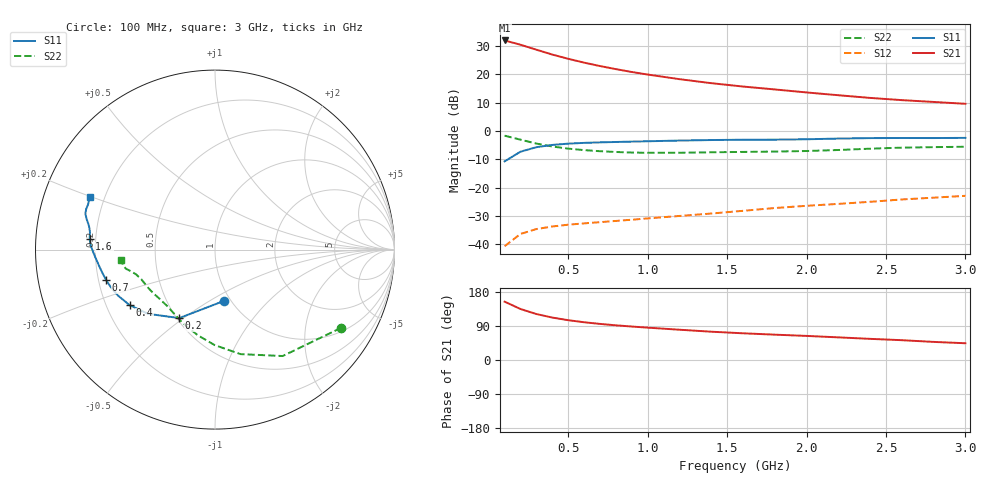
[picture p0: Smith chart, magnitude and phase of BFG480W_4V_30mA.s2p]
! Filename: 430BFG480.001
! Title: BFG480W
! Bias: Vce=4V; Ic=30mA
! Company: Philips Semiconductors NL
! User: Quality&Reliability T&D
! Measure time: 10 Nov 1999 / 12:02:36
#  MHz  S  MA  R 50
! Freq  S11  S21  S12  S22  :
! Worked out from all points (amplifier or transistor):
!   20 points, 100 MHz to 3 GHz, reference 50 ohm
!   highest |S21| = 32.0 dB at 100 MHz (marker M1)
!   |S21| within 3 dB of that: start of sweep to 284.7 MHz
!   unconditionally stable (mu >= 1): 1.164 GHz to end of sweep
!   at 400 MHz: K = 0.51, MSG = 30.4 dB, |S12| = -33.8 dB
!   at 1.2 GHz: K = 1.01, MAG = 23.5 dB, |S12| = -30.0 dB
!   at 3 GHz: K = 1.08, MAG = 14.6 dB, |S12| = -22.9 dB
!   S11 on the Smith chart (normalised r, x): 100 MHz: 0.93, -0.58; 200 MHz: 0.51, -0.48; 400 MHz: 0.30, -0.27; 700 MHz: 0.23, -0.13; 1.6 GHz: 0.18, +0.04; 3 GHz: 0.14, +0.20
100  0.2906 -80.4  39.93 153.9  0.009196 63.7  0.8267 -31.8
200  0.4306 -117.6  33.56 134.6  0.01512 54.0  0.7027 -57.5
300  0.5176 -136.3  27.41 121.3  0.01845 48.2  0.5995 -76.3
400  0.5672 -146.9  22.49 112.0  0.02049 45.9  0.5321 -90.2
500  0.5981 -154.6  18.93 105.1  0.02204 45.4  0.4882 -100.9
600  0.6168 -160.1  16.19 99.6  0.02326 45.9  0.4593 -109.3
700  0.6297 -164.4  14.09 95.3  0.02444 47.4  0.4395 -116.0
800  0.6397 -168.0  12.43 91.5  0.02568 49.2  0.4255 -121.6
900  0.6492 -171.1  11.06 88.3  0.02699 51.5  0.4165 -126.6
1000  0.6588 -173.9  9.97 85.4  0.02847 53.4  0.4119 -131.0
1200  0.6776 -178.5  8.261 79.9  0.03148 57.0  0.4129 -138.6
1400  0.6925 178.2  7.014 74.7  0.03472 60.1  0.4205 -144.4
1600  0.7008 175.2  6.117 70.5  0.03879 63.1  0.4267 -148.8
1800  0.7033 172.1  5.434 66.9  0.04346 65.6  0.4332 -153.2
2000  0.7145 169.3  4.809 63.6  0.04757 67.6  0.4428 -158.2
2200  0.7348 166.7  4.293 59.7  0.05143 69.0  0.4616 -162.7
2400  0.7492 164.5  3.85 55.8  0.05596 69.6  0.4869 -165.9
2600  0.7523 162.6  3.517 52.3  0.06161 70.0  0.5079 -167.9
2800  0.7507 160.2  3.265 47.8  0.06624 69.4  0.5185 -170.2
3000  0.7562 157.4  3.029 44.2  0.07144 69.3  0.5268 -173.4
